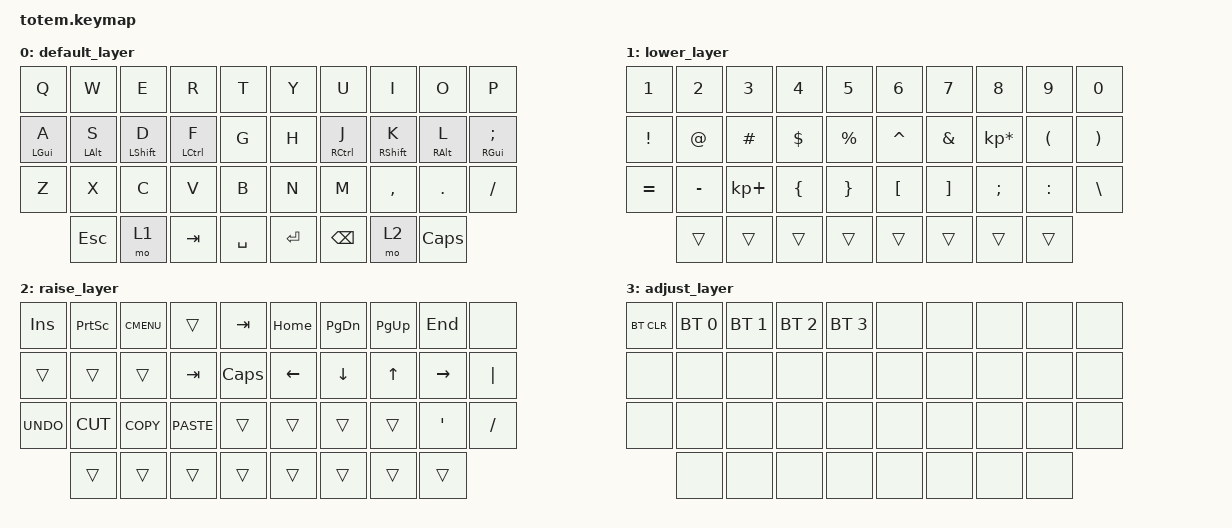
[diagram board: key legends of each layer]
/*
 * Copyright (c) 2020 The ZMK Contributors
 *
 * SPDX-License-Identifier: MIT
 */

#include <behaviors.dtsi>
#include <dt-bindings/zmk/keys.h>
#include <dt-bindings/zmk/bt.h>

/ {     

        conditional_layers {
            compatible = "zmk,conditional-layers";
            adjust_layer {
                if-layers = <1 2>;
                then-layer = <3>;
            };
        };

        behaviors {
            mt {
                flavor = "tap-preferred";
                tapping-term-ms = <400>;
            };
        };

        keymap {
                compatible = "zmk,keymap";

                default_layer {

                        bindings = <
                                &kp Q       &kp W       &kp E        &kp R        &kp T        /**/     &kp Y     &kp U         &kp I          &kp O       &kp P   
                                &mt LGUI A  &mt LALT S  &mt LSHFT D  &mt LCTRL F  &kp G        /**/     &kp H     &mt RCTRL J   &mt RSHFT K    &mt RALT L  &mt RGUI SEMI
                                &kp Z       &kp X       &kp C        &kp V        &kp B        /**/     &kp N     &kp M         &kp COMMA      &kp DOT     &kp FSLH
                                            &kp ESC     &mo 1        &kp TAB      &kp SPACE    /**/     &kp ENTER &kp BSPC      &mo 2          &kp CAPS

                        >;
                };
                lower_layer {
                        bindings = <
                                &kp N1    &kp N2    &kp N3      &kp N4    &kp N5      /**/     &kp N6    &kp N7     &kp N8          &kp N9    &kp N0
                                &kp EXCL  &kp AT    &kp HASH    &kp DLLR  &kp PRCNT   /**/     &kp CARET &kp AMPS   &kp KP_MULTIPLY &kp LPAR  &kp RPAR
                                &kp EQUAL &kp MINUS &kp KP_PLUS &kp LBRC  &kp RBRC    /**/     &kp LBKT  &kp RBKT   &kp SEMI        &kp COLON &kp BSLH
                                          &trans    &trans      &trans    &trans      /**/     &trans    &trans     &trans          &trans
                        >;
                };

                raise_layer {
                        bindings = <
                                &kp INS    &kp PSCRN   &kp K_CMENU  &trans       &kp TAB    /**/     &kp HOME &kp PG_DN &kp PG_UP &kp END    &none
                                &trans     &trans      &trans       &kp TAB      &kp CLCK   /**/     &kp LEFT &kp DOWN  &kp UP    &kp RIGHT  &kp PIPE
                                &kp K_UNDO &kp K_CUT   &kp K_COPY   &kp K_PASTE  &trans     /**/     &trans   &trans    &trans    &kp SQT    &kp SLASH
                                           &trans      &trans       &trans       &trans     /**/     &trans   &trans    &trans    &trans
                        >;
                };

                adjust_layer {
                        bindings = <
                                &bt BT_CLR &bt BT_SEL 0 &bt BT_SEL 1 &bt BT_SEL 2 &bt BT_SEL 3     /**/     &none &none &none &none &none
                                &none      &none        &none        &none        &none            /**/     &none &none &none &none &none
                                &none      &none        &none        &none        &none            /**/     &none &none &none &none &none
                                           &none        &none        &none        &none            /**/     &none &none &none &none
                        >;
                };
        };
};
